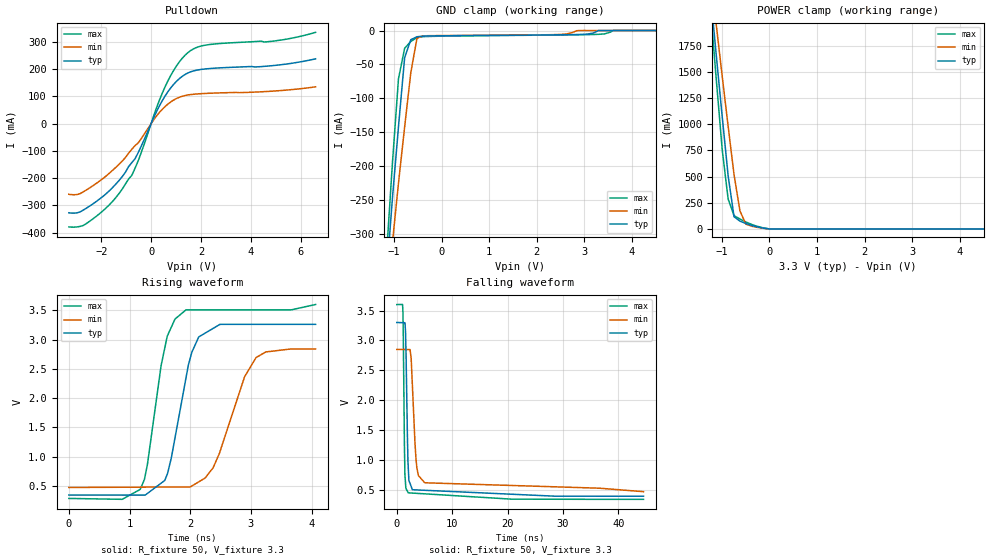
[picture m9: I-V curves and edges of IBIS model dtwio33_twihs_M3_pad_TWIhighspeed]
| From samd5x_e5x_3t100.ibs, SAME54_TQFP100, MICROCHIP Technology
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|   MODEL : dtwio33_twihs_M3_pad_TWIhighspeed
[Model] dtwio33_twihs_M3_pad_TWIhighspeed
Model_type I/O_open_sink
Vinl  =  1.08
Vinh  =  2.52
Vmeas =  1.800
Vref  =  1.800
Rref  =  0
| Capacitance   typ   min   max
C_comp   2.101529988380057e-12   1.645067708894751e-12   2.282385304804358e-12
[Model Spec]
| Subparameter   typ   min   max
Vinl   0.99   0.855   1.08
Vinh   2.31   1.995   2.52
Vmeas   1.65   1.425   1.8
Vref   1.65   1.425   1.8
| Variables   typ   min   max
[GND Clamp Reference]   0   0   0
[POWER Clamp Reference]   3.3   2.85   3.6
[Pulldown Reference]   0   0   0
[Pullup Reference]   3.3   2.85   3.6
[Temperature Range]   25   125   -40
[Voltage Range]   3.3   2.85   3.6
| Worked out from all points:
|   slope of the pulldown table from 0 to 0.495 V, typ, clamps not added: 5.41 ohm
|   POWER clamp passes 1 mA (typ) near -0.02 V on its own axis
|   rising waveform, R_fixture 50, V_fixture 3.3: 20-80 % time 322ps typ, 462ps min, 291ps max; typ from 0.342 V to 3.26 V
|   falling waveform, R_fixture 50, V_fixture 3.3: 20-80 % time 336ps typ, 786ps min, 234ps max; typ from 3.3 V to 0.394 V
[GND Clamp]
| Voltage   I(typ)   I(min)   I(max)
-3.3V     -2.836A    -2.463A    -3.209A
-1.164V   -369.9mA   -414.1mA   -339.7mA
-1.034V   -249.6mA   -314.8mA   -198.2mA
-905.2mV  -142.1mA   -225.5mA   -71.27mA
-775.9mV  -40.07mA   -142.4mA   -26.13mA
-646.6mV  -13.57mA   -62.44mA   -16.27mA
-517.2mV  -9.234mA   -11.49mA   -10.29mA
2.503V    -6.319mA   -5.772mA   -6.576mA
2.845V    -5.935mA   -182.4uA   -6.294mA
3.3V      1.859nA    0A         -5.628mA
3.6V      0A         0A         1.944nA
6.6V      0A         0A         0A
[POWER Clamp]
| Voltage   I(typ)   I(min)   I(max)
-3.3V     12.49A     11.04A     13.88A
-1.241V   2.255A     2.447A     2.115A
-1.117V   1.657A     1.948A     1.427A
-993.1mV  1.073A     1.459A     757.4mA
-869mV    510.6mA    983mA      286.8mA
-744.8mV  117.2mA    519.3mA    127.2mA
-620.7mV  74.67mA    172.5mA    95.05mA
-496.6mV  52.06mA    46.49mA    66.69mA
-248.3mV  18.75mA    14.61mA    24.08mA
0V        0A         226.4uA    0A
6.6V      0A         0A         0A
[Pulldown]
| Voltage   I(typ)   I(min)   I(max)
-3.3V     -327.3mA   -259.3mA   -379mA
-2.716V   -317mA     -250mA     -373.6mA
-2.069V   -277mA     -210.8mA   -330.6mA
-1.293V   -209.5mA   -149.9mA   -257.3mA
-775.9mV  -143.2mA   -94.3mA    -190.2mA
-517.2mV  -106.4mA   -70.74mA   -136.3mA
569mV     102.7mA    63.54mA    136.9mA
1.024V    156mA      92.55mA    212.7mA
1.479V    186.3mA    105.4mA    261mA
2.276V    201.8mA    111.4mA    289.7mA
4.79V     212.3mA    118.9mA    302mA
6.6V      238mA      135.2mA    335.4mA
[Ramp]
dV/dt_r   1.77492/0.328465n  1.42738/0.465673n  1.98975/0.290959n
dV/dt_f   1.77481/0.351473n  1.42705/0.784438n  1.98972/0.241046n
R_load = 50
[Rising Waveform]
R_fixture = 50
V_fixture = 3.3
V_fixture_min = 2.85
V_fixture_max = 3.6
| Time   V(typ)   V(min)   V(max)
0s        341.8mV    471mV      283.7mV
1.175ns   340.8mV    476.5mV    437.7mV
1.294ns   368.5mV    477mV      858.6mV
1.52ns    544.4mV    478.1mV    2.555V
1.627ns   712.7mV    478.6mV    3.071V
1.931ns   2.348V     480mV      3.508V
2.14ns    3.046V     566.8mV    3.508V
2.377ns   3.191V     807.7mV    3.508V
3.084ns   3.26V      2.692V     3.508V
4.065ns   3.26V      2.841V     3.6V
[Falling Waveform]
R_fixture = 50
V_fixture = 3.3
V_fixture_min = 2.85
V_fixture_max = 3.6
| Time   V(typ)   V(min)   V(max)
0s        3.3V       2.85V      3.6V
1.05ns    3.297V     2.849V     3.601V
1.176ns   3.297V     2.849V     3.08V
1.377ns   3.297V     2.848V     1.265V
1.482ns   3.296V     2.848V     735.2mV
2.07ns    872.8mV    2.848V     451.1mV
2.599ns   557.3mV    2.698V     448.1mV
3.627ns   499.3mV    866mV      442.3mV
5.048ns   493.3mV    618.9mV    434.2mV
44.52ns   394.2mV    470mV      342.2mV
